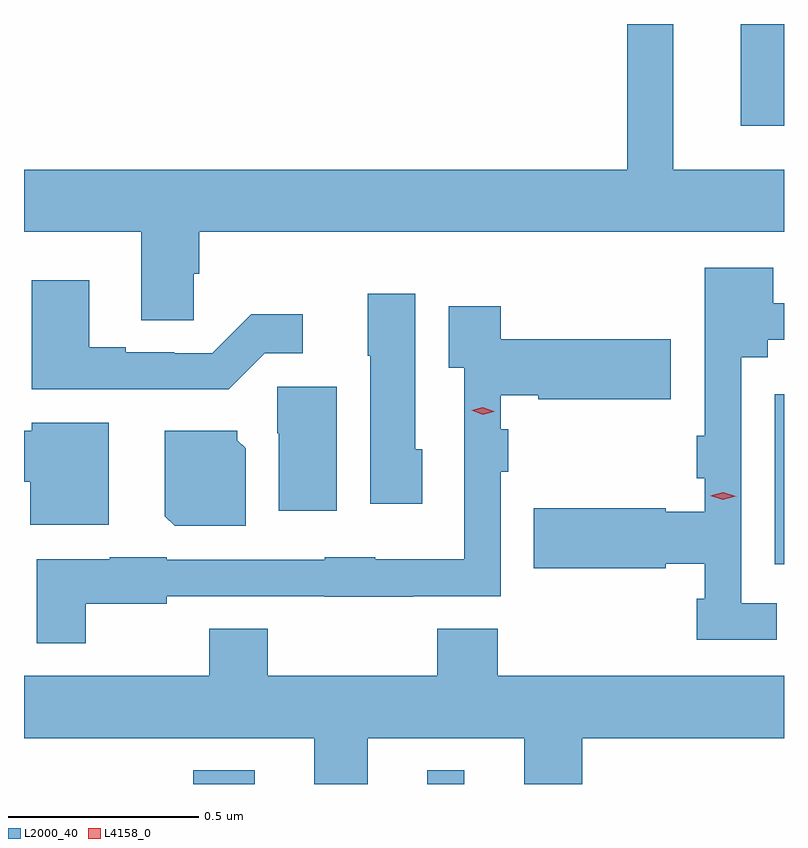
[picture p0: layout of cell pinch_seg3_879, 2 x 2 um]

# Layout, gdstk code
import gdstk
lib = gdstk.Library(unit=1e-6, precision=1e-09)
def R(c, l, rs):  # rectangles x0, y0, x1, y1
    for r in rs: c.add(gdstk.rectangle(r[:2], r[2:], *l))
def P(c, l, *ps):  # polygons
    for p in ps: c.add(gdstk.Polygon(p, *l))
L2000_40 = (2000, 40)
L4158_0 = (4158, 0)

pinch_seg3_879 = lib.new_cell('pinch_seg3_879')
R(pinch_seg3_879, L2000_40, [(681.719,688.807,681.88,688.843), (682.334,688.807,682.432,688.843), (683.249,689.385,683.273,689.833), (683.159,690.539,683.273,690.807)])
P(pinch_seg3_879, L2000_40, [(681.72,690.15),(681.734,690.15),(681.734,690.26),(683.273,690.26),(683.273,690.424),(682.981,690.424),(682.981,690.807),(682.86,690.807),(682.86,690.424),(681.273,690.424),(681.273,690.26),(681.581,690.26),(681.581,690.028),(681.72,690.028)],
  [(683.254,689.283),(683.16,689.283),(683.16,689.93),(683.23,689.93),(683.23,689.976),(683.273,689.976),(683.273,690.072),(683.245,690.072),(683.245,690.166),(683.064,690.166),(683.064,689.723),(683.044,689.723),(683.044,689.611),(683.064,689.611),(683.064,689.523),(682.962,689.523),(682.962,689.533),(682.614,689.533),(682.614,689.375),(682.962,689.375),(682.962,689.386),(683.064,689.386),(683.064,689.294),(683.044,689.294),(683.044,689.187),(683.254,689.187)],
  [(681.906,689.94),(682.006,689.94),(682.006,690.043),(681.871,690.043),(681.768,689.94),(681.668,689.94),(681.668,689.943),(681.541,689.943),(681.541,689.956),(681.445,689.956),(681.445,690.133),(681.293,690.133),(681.293,689.846),(681.812,689.846)],
  [(682.321,689.688),(682.303,689.688),(682.303,690.097),(682.178,690.097),(682.178,689.934),(682.184,689.934),(682.184,689.544),(682.321,689.544)],
  [(681.436,689.282),(681.648,689.282),(681.648,689.301),(682.065,689.301),(682.065,689.3),(682.297,689.3),(682.297,689.301),(682.527,689.301),(682.527,689.629),(682.547,689.629),(682.547,689.741),(682.527,689.741),(682.527,689.83),(682.626,689.83),(682.626,689.819),(682.975,689.819),(682.975,689.977),(682.527,689.977),(682.527,690.064),(682.391,690.064),(682.391,689.903),(682.431,689.903),(682.431,689.398),(682.197,689.398),(682.197,689.404),(682.065,689.404),(682.065,689.397),(681.648,689.397),(681.648,689.404),(681.498,689.404),(681.498,689.398),(681.307,689.398),(681.307,689.177),(681.436,689.177)],
  [(682.096,689.853),(681.94,689.853),(681.94,689.73),(681.944,689.73),(681.944,689.526),(682.096,689.526)],
  [(681.496,689.758),(681.294,689.758),(681.294,689.737),(681.273,689.737),(681.273,689.603),(681.29,689.603),(681.29,689.489),(681.496,689.489)],
  [(681.856,689.69),(681.834,689.712),(681.834,689.737),(681.644,689.737),(681.644,689.512),(681.67,689.486),(681.856,689.486)],
  [(682.177,688.928),(682.589,688.928),(682.589,688.807),(682.742,688.807),(682.742,688.928),(683.273,688.928),(683.273,689.092),(682.52,689.092),(682.52,689.216),(682.36,689.216),(682.36,689.092),(681.915,689.092),(681.915,689.216),(681.76,689.216),(681.76,689.092),(681.273,689.092),(681.273,688.928),(682.037,688.928),(682.037,688.807),(682.177,688.807)])
P(pinch_seg3_879, L4158_0, [(682.48,689.779),(682.451,689.79),(682.45,689.79),(682.451,689.79),(682.48,689.799),(682.509,689.788),(682.51,689.788),(682.509,689.787)],
  [(683.112,689.555),(683.079,689.565),(683.078,689.566),(683.079,689.566),(683.113,689.575),(683.146,689.564),(683.147,689.564),(683.146,689.564)])

lib.write_gds('pinch_seg3_879.gds')
